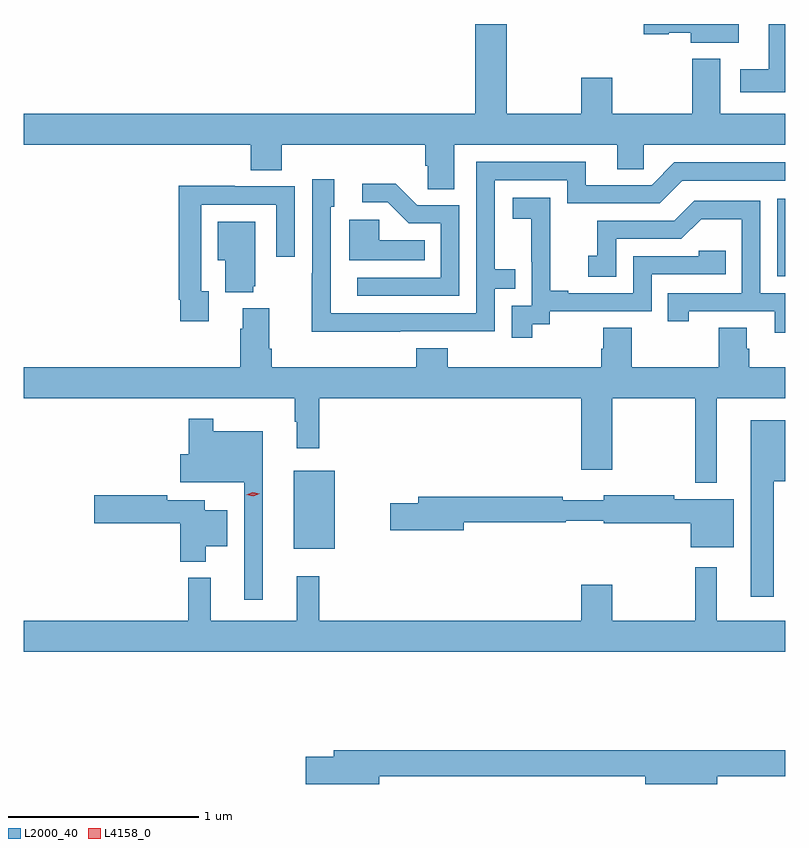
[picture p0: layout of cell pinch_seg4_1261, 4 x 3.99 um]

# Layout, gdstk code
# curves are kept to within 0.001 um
import gdstk
lib = gdstk.Library(unit=1e-6, precision=1e-09)
def R(c, l, rs):  # rectangles x0, y0, x1, y1
    for r in rs: c.add(gdstk.rectangle(r[:2], r[2:], *l))
def P(c, l, *ps):  # polygons
    for p in ps: c.add(gdstk.Polygon(p, *l))
L2000_40 = (2000, 40)
L4158_0 = (4158, 0)

pinch_seg4_1261 = lib.new_cell('pinch_seg4_1261')
R(pinch_seg4_1261, L2000_40, [(343.319,780.047,343.534,780.457), (345.858,781.479,345.9,781.885)])
P(pinch_seg4_1261, L2000_40, [(345.655,782.803),(345.156,782.803),(345.156,782.749),(345.288,782.749),(345.288,782.756),(345.404,782.756),(345.404,782.705),(345.655,782.705)],
  [(344.161,782.168),(345.017,782.168),(345.017,782.041),(345.156,782.041),(345.156,782.168),(345.9,782.168),(345.9,782.332),(345.559,782.332),(345.559,782.62),(345.412,782.62),(345.412,782.332),(344.992,782.332),(344.992,782.521),(344.828,782.521),(344.828,782.332),(344.437,782.332),(344.437,782.803),(344.273,782.803),(344.273,782.332),(341.9,782.332),(341.9,782.168),(343.091,782.168),(343.091,782.035),(343.256,782.035),(343.256,782.168),(344.009,782.168),(344.009,782.059),(344.022,782.059),(344.022,781.936),(344.161,781.936)],
  [(345.9,782.803),(345.815,782.803),(345.815,782.566),(345.663,782.566),(345.663,782.444),(345.9,782.444)],
  [(343.877,781.188),(344.373,781.188),(344.373,781.413),(344.483,781.413),(344.483,781.514),(344.373,781.514),(344.373,781.983),(344.754,781.983),(344.754,781.86),(345.24,781.86),(345.36,781.98),(345.9,781.98),(345.9,782.076),(345.318,782.076),(345.198,781.956),(344.851,781.956),(344.851,782.079),(344.277,782.079),(344.277,781.284),(343.513,781.284),(343.512,781.842),(343.531,781.842),(343.531,781.987),(343.416,781.987),(343.416,781.493),(343.414,781.493),(343.414,781.187)],
  [(344.187,781.851),(343.968,781.851),(343.855,781.964),(343.677,781.964),(343.677,781.866),(343.811,781.866),(343.922,781.755),(344.091,781.755),(344.091,781.47),(343.653,781.47),(343.653,781.374),(344.187,781.374)],
  [(342.871,781.398),(342.831,781.398),(342.831,781.854),(343.227,781.854),(343.227,781.581),(343.323,781.581),(343.323,781.95),(343.007,781.95),(343.007,781.952),(342.715,781.952),(342.715,781.354),(342.723,781.354),(342.723,781.242),(342.871,781.242)],
  [(344.572,781.225),(344.664,781.225),(344.664,781.293),(345.198,781.293),(345.198,781.488),(345.587,781.488),(345.587,781.611),(345.447,781.611),(345.447,781.584),(345.102,781.584),(345.102,781.389),(344.761,781.389),(344.761,781.402),(344.666,781.402),(344.666,781.685),(344.667,781.685),(344.667,781.891),(344.469,781.891),(344.469,781.781),(344.567,781.781),(344.567,781.553),(344.568,781.553),(344.568,781.323),(344.463,781.323),(344.463,781.155),(344.572,781.155)],
  [(345.9,781.389),(345.768,781.389),(345.768,781.875),(345.422,781.875),(345.317,781.77),(344.914,781.77),(344.914,781.585),(344.865,781.585),(344.865,781.476),(345.012,781.476),(345.012,781.674),(345.354,781.674),(345.458,781.778),(345.672,781.778),(345.672,781.389),(345.283,781.389),(345.283,781.242),(345.394,781.242),(345.394,781.293),(345.845,781.293),(345.845,781.182),(345.9,781.182)],
  [(344.006,781.666),(343.767,781.666),(343.767,781.774),(343.61,781.774),(343.61,781.562),(344.006,781.562)],
  [(343.106,781.425),(343.117,781.425),(343.117,781.765),(342.92,781.765),(342.92,781.562),(342.959,781.562),(342.959,781.394),(343.106,781.394)],
  [(345.093,781.208),(344.945,781.208),(344.945,781.098),(344.933,781.098),(344.933,781),(344.126,781),(344.126,781.099),(343.961,781.099),(343.961,781),(343.202,781),(343.202,781.096),(343.189,781.096),(343.189,781.309),(343.049,781.309),(343.049,781.202),(343.037,781.202),(343.037,781),(341.9,781),(341.9,780.836),(343.323,780.836),(343.323,780.713),(343.334,780.713),(343.334,780.573),(343.451,780.573),(343.451,780.836),(344.828,780.836),(344.828,780.462),(344.992,780.462),(344.992,780.836),(345.427,780.836),(345.427,780.392),(345.541,780.392),(345.541,780.836),(345.9,780.836),(345.9,781),(345.71,781),(345.71,781.098),(345.697,781.098),(345.697,781.208),(345.55,781.208),(345.55,781),(345.093,781)],
  [(343.156,780.664),(342.895,780.664),(342.895,780.73),(342.766,780.73),(342.766,780.543),(342.722,780.543),(342.722,780.395),(343.059,780.395),(343.059,779.778),(343.156,779.778)],
  [(345.841,780.401),(345.9,780.401),(345.9,780.721),(345.719,780.721),(345.719,779.793),(345.841,779.793)],
  [(342.856,780.059),(342.97,780.059),(342.97,780.247),(342.85,780.247),(342.85,780.301),(342.654,780.301),(342.654,780.326),(342.27,780.326),(342.27,780.179),(342.722,780.179),(342.722,779.978),(342.856,779.978)],
  [(345.631,780.307),(345.318,780.307),(345.318,780.326),(344.946,780.326),(344.946,780.301),(344.732,780.301),(344.732,780.32),(343.973,780.32),(343.973,780.284),(343.824,780.284),(343.824,780.142),(344.212,780.142),(344.212,780.184),(344.746,780.184),(344.746,780.192),(344.946,780.192),(344.946,780.179),(345.404,780.179),(345.404,780.053),(345.631,780.053)],
  [(345.9,779.668),(345.541,779.668),(345.541,779.95),(345.427,779.95),(345.427,779.668),(344.992,779.668),(344.992,779.857),(344.828,779.857),(344.828,779.668),(343.451,779.668),(343.451,779.902),(343.334,779.902),(343.334,779.668),(342.881,779.668),(342.881,779.893),(342.763,779.893),(342.763,779.668),(341.9,779.668),(341.9,779.504),(345.9,779.504)],
  [(343.768,778.852),(345.164,778.852),(345.164,778.81),(345.544,778.81),(345.544,778.852),(345.9,778.852),(345.9,778.988),(343.529,778.988),(343.529,778.952),(343.38,778.952),(343.38,778.81),(343.768,778.81)])
P(pinch_seg4_1261, L4158_0, [(343.105,780.323),(343.069,780.33),(343.069,780.331),(343.069,780.331),(343.104,780.343),(343.14,780.335),(343.14,780.335),(343.14,780.335)])

lib.write_gds('pinch_seg4_1261.gds')
